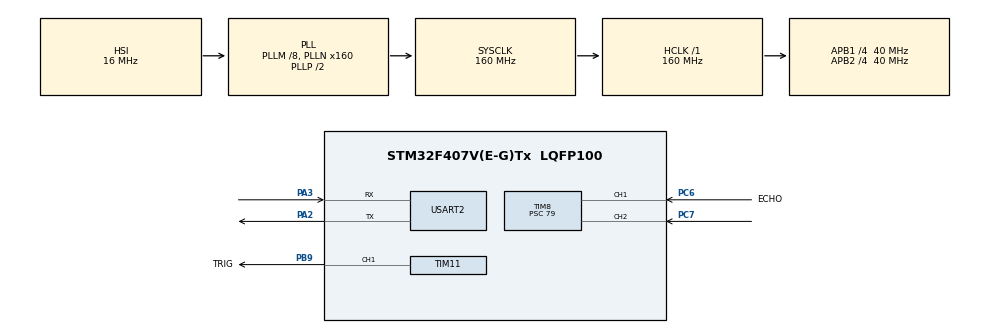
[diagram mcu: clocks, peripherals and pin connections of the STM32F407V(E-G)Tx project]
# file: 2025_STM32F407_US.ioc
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Mcu.Family=STM32F4
Mcu.Name=STM32F407V(E-G)Tx
Mcu.Package=LQFP100
NVIC.PriorityGroup=NVIC_PRIORITYGROUP_0
NVIC.TIM1_TRG_COM_TIM11_IRQn=true\:0\:0\:false\:false\:true\:true\:true\:true
PA2.Mode=Asynchronous
PA2.Signal=USART2_TX
PA3.Mode=Asynchronous
PA3.Signal=USART2_RX
PB9.GPIO_Label=TRIG
PB9.Signal=S_TIM11_CH1
PC6.GPIO_Label=ECHO
PC6.Signal=S_TIM8_CH1
PC7.Signal=S_TIM8_CH2
ProjectManager.HeapSize=0x200
ProjectManager.StackSize=0x400
ProjectManager.TargetToolchain=STM32CubeIDE
RCC.48MHZClocksFreq_Value=45714285.71428572
RCC.AHBFreq_Value=160000000
RCC.APB1CLKDivider=RCC_HCLK_DIV4
RCC.APB1Freq_Value=40000000
RCC.APB1TimFreq_Value=80000000
RCC.APB2CLKDivider=RCC_HCLK_DIV4
RCC.APB2Freq_Value=40000000
RCC.APB2TimFreq_Value=80000000
RCC.CortexFreq_Value=160000000
RCC.HCLKFreq_Value=160000000
RCC.HSE_VALUE=8000000
RCC.HSI_VALUE=16000000
RCC.LSE_VALUE=32768
RCC.PLLM=8
RCC.PLLN=160
RCC.PLLQ=7
RCC.SYSCLKFreq_VALUE=160000000
RCC.SYSCLKSource=RCC_SYSCLKSOURCE_PLLCLK
RCC.VCOOutputFreq_Value=320000000
SH.S_TIM11_CH1.0=TIM11_CH1,PWM Generation1 CH1
SH.S_TIM8_CH1.0=TIM8_CH1,Input_Capture1_from_TI1
SH.S_TIM8_CH2.0=TIM8_CH2,TriggerSource_TI2FP2
SH.S_TIM8_CH2.1=TIM8_CH2,Input_Capture2_from_TI2
TIM11.Channel=TIM_CHANNEL_1
TIM11.Period=39999
TIM11.Prescaler=199
TIM8.Channel-Input_Capture1_from_TI1=TIM_CHANNEL_1
TIM8.Channel-Input_Capture2_from_TI2=TIM_CHANNEL_2
TIM8.ICPolarity_CH1=TIM_INPUTCHANNELPOLARITY_RISING
TIM8.ICPolarity_CH2=TIM_INPUTCHANNELPOLARITY_RISING
TIM8.Prescaler=79
USART2.VirtualMode=VM_ASYNC
VP_TIM11_VS_ClockSourceINT.Mode=Enable_Timer
VP_TIM8_VS_ControllerModeReset.Mode=Reset Mode
board=STM32F407G-DISC1

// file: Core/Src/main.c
/* USER CODE BEGIN Header */
/**
  ******************************************************************************
  * @file           : main.c
  * @brief          : Main program body
  ******************************************************************************
  * @attention
  *
  * Copyright (c) 2025 STMicroelectronics.
  * All rights reserved.
  *
  * This software is licensed under terms that can be found in the LICENSE file
  * in the root directory of this software component.
  * If no LICENSE file comes with this software, it is provided AS-IS.
  *
  ******************************************************************************
  */
/* USER CODE END Header */
#include "main.h"

/* USER CODE BEGIN Includes */
#include<stdio.h>
#include<stdlib.h>
/* USER CODE END Includes */

TIM_HandleTypeDef htim8;
TIM_HandleTypeDef htim11;

UART_HandleTypeDef huart2;

/* USER CODE BEGIN PV */
#ifdef __GNUC__
#define PUTCHAR_PROTOTYPE int __io_putchar(int ch)
#else
#define PUTCHAR_PROTOTYPE int fputc(int ch, FILE *f)
#endif

PUTCHAR_PROTOTYPE {
    HAL_UART_Transmit(&huart2, (uint8_t *)&ch, 1, HAL_MAX_DELAY);
    return ch;
}

volatile uint32_t echo_start = 0;
volatile uint32_t echo_end = 0;
volatile uint8_t echo_captured = 0;
float distance_cm = 0;

/* USER CODE END PV */

void SystemClock_Config(void);
static void MX_GPIO_Init(void);
static void MX_TIM8_Init(void);
static void MX_TIM11_Init(void);
static void MX_USART2_UART_Init(void);
/* USER CODE BEGIN PFP */
void Trigger_Ultrasonic(void);
/* USER CODE END PFP */

int main(void)
{

  /* MCU Configuration--------------------------------------------------------*/

  /* Reset of all peripherals, Initializes the Flash interface and the Systick. */
  HAL_Init();

  /* Configure the system clock */
  SystemClock_Config();

  /* Initialize all configured peripherals */
  MX_GPIO_Init();
  MX_TIM8_Init();
  MX_TIM11_Init();
  MX_USART2_UART_Init();
  /* USER CODE BEGIN 2 */
  HAL_TIM_Base_Start(&htim8);
  HAL_TIM_Base_Start(&htim11);
  HAL_TIM_PWM_Start(&htim11, TIM_CHANNEL_1);
  HAL_TIM_IC_Start(&htim8, TIM_CHANNEL_1);
  HAL_TIM_IC_Start(&htim8, TIM_CHANNEL_2);
  /* USER CODE END 2 */

  /* Infinite loop */
  /* USER CODE BEGIN WHILE */
  while (1)
  {
	  Trigger_Ultrasonic();

	  while(HAL_GPIO_ReadPin(GPIOC, GPIO_PIN_6) == GPIO_PIN_RESET); // wait for rising
	  echo_start = __HAL_TIM_GET_COUNTER(&htim8);

	  while(HAL_GPIO_ReadPin(GPIOC, GPIO_PIN_6) == GPIO_PIN_SET); // wait for falling
	  echo_end = __HAL_TIM_GET_COUNTER(&htim8);

	  uint32_t pulse = (echo_end >= echo_start) ? (echo_end - echo_start) : (0xFFFF - echo_start + echo_end);
	  distance_cm = pulse * 0.0343f / 2;

	  printf("Pulse: %lu us, Distance: %.2f cm \n", pulse, distance_cm);
	  HAL_Delay(100);
    /* USER CODE END WHILE */

  }
}

void SystemClock_Config(void)
{
  RCC_OscInitTypeDef RCC_OscInitStruct = {0};
  RCC_ClkInitTypeDef RCC_ClkInitStruct = {0};

  /** Configure the main internal regulator output voltage
  */
  __HAL_RCC_PWR_CLK_ENABLE();
  __HAL_PWR_VOLTAGESCALING_CONFIG(PWR_REGULATOR_VOLTAGE_SCALE1);

  /** Initializes the RCC Oscillators according to the specified parameters
  * in the RCC_OscInitTypeDef structure.
  */
  RCC_OscInitStruct.OscillatorType = RCC_OSCILLATORTYPE_HSI;
  RCC_OscInitStruct.HSIState = RCC_HSI_ON;
  RCC_OscInitStruct.HSICalibrationValue = RCC_HSICALIBRATION_DEFAULT;
  RCC_OscInitStruct.PLL.PLLState = RCC_PLL_ON;
  RCC_OscInitStruct.PLL.PLLSource = RCC_PLLSOURCE_HSI;
  RCC_OscInitStruct.PLL.PLLM = 8;
  RCC_OscInitStruct.PLL.PLLN = 160;
  RCC_OscInitStruct.PLL.PLLP = RCC_PLLP_DIV2;
  RCC_OscInitStruct.PLL.PLLQ = 7;
  if (HAL_RCC_OscConfig(&RCC_OscInitStruct) != HAL_OK)
  {
    Error_Handler();
  }

  /** Initializes the CPU, AHB and APB buses clocks
  */
  RCC_ClkInitStruct.ClockType = RCC_CLOCKTYPE_HCLK|RCC_CLOCKTYPE_SYSCLK
                              |RCC_CLOCKTYPE_PCLK1|RCC_CLOCKTYPE_PCLK2;
  RCC_ClkInitStruct.SYSCLKSource = RCC_SYSCLKSOURCE_PLLCLK;
  RCC_ClkInitStruct.AHBCLKDivider = RCC_SYSCLK_DIV1;
  RCC_ClkInitStruct.APB1CLKDivider = RCC_HCLK_DIV4;
  RCC_ClkInitStruct.APB2CLKDivider = RCC_HCLK_DIV4;

  if (HAL_RCC_ClockConfig(&RCC_ClkInitStruct, FLASH_LATENCY_5) != HAL_OK)
  {
    Error_Handler();
  }
}

static void MX_TIM8_Init(void)
{

  TIM_SlaveConfigTypeDef sSlaveConfig = {0};
  TIM_MasterConfigTypeDef sMasterConfig = {0};
  TIM_IC_InitTypeDef sConfigIC = {0};

  /* USER CODE BEGIN TIM8_Init 1 */

  sConfigIC.ICPolarity = TIM_INPUTCHANNELPOLARITY_BOTHEDGE;
  sConfigIC.ICSelection = TIM_ICSELECTION_DIRECTTI;
  sConfigIC.ICPrescaler = TIM_ICPSC_DIV1;
  sConfigIC.ICFilter = 0;
  HAL_TIM_IC_ConfigChannel(&htim8, &sConfigIC, TIM_CHANNEL_1);

  /* USER CODE END TIM8_Init 1 */
  htim8.Instance = TIM8;
  htim8.Init.Prescaler = 79;
  htim8.Init.CounterMode = TIM_COUNTERMODE_UP;
  htim8.Init.Period = 65535;
  htim8.Init.ClockDivision = TIM_CLOCKDIVISION_DIV1;
  htim8.Init.RepetitionCounter = 0;
  htim8.Init.AutoReloadPreload = TIM_AUTORELOAD_PRELOAD_DISABLE;
  if (HAL_TIM_Base_Init(&htim8) != HAL_OK)
  {
    Error_Handler();
  }
  if (HAL_TIM_IC_Init(&htim8) != HAL_OK)
  {
    Error_Handler();
  }
  sSlaveConfig.SlaveMode = TIM_SLAVEMODE_RESET;
  sSlaveConfig.InputTrigger = TIM_TS_TI2FP2;
  sSlaveConfig.TriggerPolarity = TIM_INPUTCHANNELPOLARITY_RISING;
  sSlaveConfig.TriggerFilter = 0;
  if (HAL_TIM_SlaveConfigSynchro(&htim8, &sSlaveConfig) != HAL_OK)
  {
    Error_Handler();
  }
  sMasterConfig.MasterOutputTrigger = TIM_TRGO_RESET;
  sMasterConfig.MasterSlaveMode = TIM_MASTERSLAVEMODE_DISABLE;
  if (HAL_TIMEx_MasterConfigSynchronization(&htim8, &sMasterConfig) != HAL_OK)
  {
    Error_Handler();
  }
  sConfigIC.ICPolarity = TIM_INPUTCHANNELPOLARITY_RISING;
  sConfigIC.ICSelection = TIM_ICSELECTION_DIRECTTI;
  sConfigIC.ICPrescaler = TIM_ICPSC_DIV1;
  sConfigIC.ICFilter = 0;
  if (HAL_TIM_IC_ConfigChannel(&htim8, &sConfigIC, TIM_CHANNEL_1) != HAL_OK)
  {
    Error_Handler();
  }
  if (HAL_TIM_IC_ConfigChannel(&htim8, &sConfigIC, TIM_CHANNEL_2) != HAL_OK)
  {
    Error_Handler();
  }

}

static void MX_TIM11_Init(void)
{

  TIM_OC_InitTypeDef sConfigOC = {0};

  htim11.Instance = TIM11;
  htim11.Init.Prescaler = 199;
  htim11.Init.CounterMode = TIM_COUNTERMODE_UP;
  htim11.Init.Period = 39999;
  htim11.Init.ClockDivision = TIM_CLOCKDIVISION_DIV1;
  htim11.Init.AutoReloadPreload = TIM_AUTORELOAD_PRELOAD_DISABLE;
  if (HAL_TIM_Base_Init(&htim11) != HAL_OK)
  {
    Error_Handler();
  }
  if (HAL_TIM_PWM_Init(&htim11) != HAL_OK)
  {
    Error_Handler();
  }
  sConfigOC.OCMode = TIM_OCMODE_PWM1;
  sConfigOC.Pulse = 0;
  sConfigOC.OCPolarity = TIM_OCPOLARITY_HIGH;
  sConfigOC.OCFastMode = TIM_OCFAST_DISABLE;
  if (HAL_TIM_PWM_ConfigChannel(&htim11, &sConfigOC, TIM_CHANNEL_1) != HAL_OK)
  {
    Error_Handler();
  }
  HAL_TIM_MspPostInit(&htim11);

}

static void MX_USART2_UART_Init(void)
{

  huart2.Instance = USART2;
  huart2.Init.BaudRate = 115200;
  huart2.Init.WordLength = UART_WORDLENGTH_8B;
  huart2.Init.StopBits = UART_STOPBITS_1;
  huart2.Init.Parity = UART_PARITY_NONE;
  huart2.Init.Mode = UART_MODE_TX_RX;
  huart2.Init.HwFlowCtl = UART_HWCONTROL_NONE;
  huart2.Init.OverSampling = UART_OVERSAMPLING_16;
  if (HAL_UART_Init(&huart2) != HAL_OK)
  {
    Error_Handler();
  }

}

static void MX_GPIO_Init(void)
{
  /* USER CODE BEGIN MX_GPIO_Init_1 */
	GPIO_InitTypeDef GPIO_InitStruct = {0};

	// Enable clock if not done
	__HAL_RCC_GPIOB_CLK_ENABLE();

	// Set PB9 as alternate function for TIM11_CH1
	GPIO_InitStruct.Pin = GPIO_PIN_9;
	GPIO_InitStruct.Mode = GPIO_MODE_AF_PP;
	GPIO_InitStruct.Pull = GPIO_NOPULL;
	GPIO_InitStruct.Speed = GPIO_SPEED_FREQ_LOW;
	GPIO_InitStruct.Alternate = GPIO_AF3_TIM11;
	HAL_GPIO_Init(GPIOB, &GPIO_InitStruct);
  /* USER CODE END MX_GPIO_Init_1 */

  /* GPIO Ports Clock Enable */
  __HAL_RCC_GPIOA_CLK_ENABLE();
  __HAL_RCC_GPIOC_CLK_ENABLE();
  __HAL_RCC_GPIOB_CLK_ENABLE();

}

/* USER CODE BEGIN 4 */
/* Trigger pulse */
void Trigger_Ultrasonic(void) {
	// Set pulse to 10 µs
	 __HAL_TIM_SET_COMPARE(&htim11, TIM_CHANNEL_1, 10);
	    __HAL_TIM_SET_COUNTER(&htim11, 0);
	    HAL_TIM_PWM_Start(&htim11, TIM_CHANNEL_1);
	    HAL_Delay(1);  // give it enough time to finish
	    HAL_TIM_PWM_Stop(&htim11, TIM_CHANNEL_1);
}
/* USER CODE END 4 */

void Error_Handler(void)
{
  __disable_irq();
  while (1)
  {
  }
}
